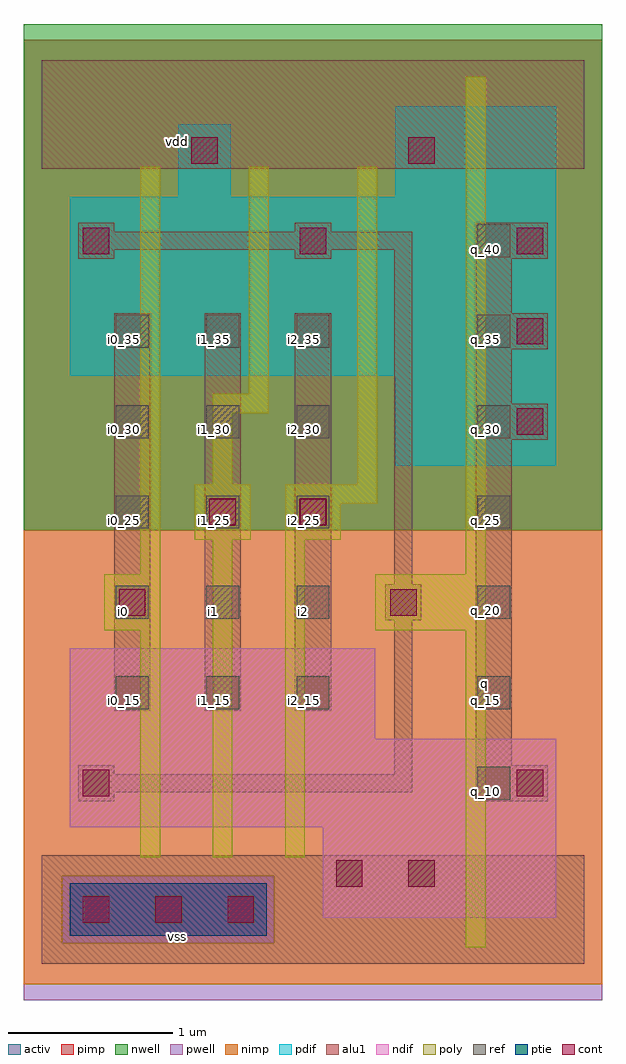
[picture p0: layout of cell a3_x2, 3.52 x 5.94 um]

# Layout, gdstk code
import gdstk
lib = gdstk.Library(unit=1e-6, precision=2.5e-09)
def R(c, l, rs):  # rectangles x0, y0, x1, y1
    for r in rs: c.add(gdstk.rectangle(r[:2], r[2:], *l))
def A(c, l, x, y, w, h, nx, ny, dx, dy):  # array of equal rectangles
    R(c, l, [(x+i*dx, y+j*dy, x+i*dx+w, y+j*dy+h) for i in range(nx) for j in range(ny)])
ndif = (3, 0)
pdif = (4, 0)
ptie = (6, 0)
ref = (24, 0)
cont = (25, 0)
pwell = (41, 0)
nwell = (42, 0)
activ = (43, 0)
pimp = (44, 0)
nimp = (45, 0)
poly = (46, 0)
alu1 = (49, 0)

a3_x2 = lib.new_cell('a3_x2')
R(a3_x2, ndif, [(1.71,0.28,3.13,0.83), (1.71,0.28,3.13,0.83), (0.17,0.83,3.13,1.37), (0.17,0.83,3.13,1.37), (0.17,1.37,2.03,1.92), (0.17,1.37,2.03,1.92)])
R(a3_x2, pdif, [(2.15,3.03,3.13,3.58), (2.15,3.03,3.13,3.58), (0.17,3.58,3.13,4.67), (0.17,3.58,3.13,4.67), (0.83,4.67,1.15,5.11), (0.83,4.67,1.15,5.11), (2.15,4.67,3.13,5.22), (2.15,4.67,3.13,5.22)])
R(a3_x2, ptie, [(0.17,0.17,1.37,0.49), (0.17,0.17,1.37,0.49)])
A(a3_x2, ref, 2.65, 1, 0.2, 0.2, 1, 7, 0, 0.55)
A(a3_x2, ref, 0.45, 1.55, 0.2, 0.2, 3, 5, 0.55, 0.55)
A(a3_x2, cont, 0.25, 0.25, 0.16, 0.16, 3, 1, 0.44, 0)
A(a3_x2, cont, 0.25, 4.32, 0.16, 0.16, 3, 1, 1.32, 0)
R(a3_x2, cont, [(1.79,0.47,1.95,0.63), (2.23,0.47,2.39,0.63), (0.25,1.02,0.41,1.18), (2.89,1.02,3.05,1.18), (0.47,2.12,0.63,2.28), (2.12,2.12,2.28,2.28), (1.02,2.67,1.18,2.83), (1.57,2.67,1.73,2.83), (2.89,3.22,3.05,3.38), (2.89,3.77,3.05,3.93), (0.91,4.87,1.07,5.03), (2.23,4.87,2.39,5.03)])
R(a3_x2, pwell, [(-0.11,-0.22,3.41,2.64)])
R(a3_x2, nwell, [(-0.11,2.64,3.41,5.72)])
R(a3_x2, activ, [(0.17,0.17,1.37,0.49), (0.17,0.17,1.37,0.49), (1.71,0.28,3.13,0.83), (1.71,0.28,3.13,0.83), (0.17,0.83,3.13,1.37), (0.17,0.83,3.13,1.37), (0.17,1.37,2.03,1.92), (0.17,1.37,2.03,1.92), (2.15,3.03,3.13,3.58), (2.15,3.03,3.13,3.58), (0.17,3.58,3.13,4.67), (0.17,3.58,3.13,4.67), (0.83,4.67,1.15,5.11), (0.83,4.67,1.15,5.11), (2.15,4.67,3.13,5.22), (2.15,4.67,3.13,5.22)])
R(a3_x2, pimp, [(0.125,0.125,1.415,0.535), (-0.11,2.64,3.41,5.625)])
R(a3_x2, nimp, [(-0.11,-0.125,3.41,0.125), (-0.11,0.125,0.125,0.535), (1.415,0.125,3.41,0.535), (-0.11,0.535,3.41,2.64)])
R(a3_x2, poly, [(2.58,0.1,2.7,2.03), (0.6,0.65,0.72,2.03), (1.04,0.65,1.16,2.58), (1.48,0.65,1.6,2.58), (0.38,2.03,0.72,2.37), (2.03,2.03,2.7,2.37), (0.6,2.37,0.72,4.85), (2.58,2.37,2.7,5.4), (0.93,2.58,1.27,2.92), (1.48,2.58,1.82,2.8), (1.48,2.8,2.04,2.92), (1.04,2.92,1.16,3.35), (1.92,2.92,2.04,4.85), (1.04,3.35,1.38,3.47), (1.26,3.47,1.38,4.85)])
A(a3_x2, alu1, 0.44, 1.54, 0.22, 2.42, 3, 1, 0.55, 0)
A(a3_x2, alu1, 2.64, 3.19, 0.44, 0.22, 1, 3, 0, 0.55)
R(a3_x2, alu1, [(0,0,3.3,0.66), (0.22,0.99,0.44,1.045), (2.64,0.99,3.08,1.21), (0.22,1.045,2.255,1.155), (0.22,1.155,0.44,1.21), (2.145,1.155,2.255,2.09), (2.64,1.21,2.86,3.19), (2.09,2.09,2.31,2.31), (2.145,2.31,2.255,4.345), (2.64,3.41,2.86,3.74), (2.64,3.96,2.86,4.29), (0.22,4.29,0.44,4.345), (1.54,4.29,1.76,4.345), (0.22,4.345,2.255,4.455), (0.22,4.455,0.44,4.51), (1.54,4.455,1.76,4.51), (0,4.84,3.3,5.5)])
a3_x2.add(gdstk.Label('vss', (0.825,0.165), layer=49, texttype=0))
a3_x2.add(gdstk.Label('q', (2.695,1.705), layer=49, texttype=0))
a3_x2.add(gdstk.Label('i2', (1.595,2.145), layer=49, texttype=0))
a3_x2.add(gdstk.Label('i1', (1.045,2.145), layer=49, texttype=0))
a3_x2.add(gdstk.Label('i0', (0.495,2.145), layer=49, texttype=0))
a3_x2.add(gdstk.Label('vdd', (0.825,5.005), layer=49, texttype=0))
a3_x2.add(gdstk.Label('q_10', (2.7,1.05), layer=24, texttype=0))
a3_x2.add(gdstk.Label('q_15', (2.7,1.6), layer=24, texttype=0))
a3_x2.add(gdstk.Label('q_40', (2.7,4.35), layer=24, texttype=0))
a3_x2.add(gdstk.Label('q_35', (2.7,3.8), layer=24, texttype=0))
a3_x2.add(gdstk.Label('q_30', (2.7,3.25), layer=24, texttype=0))
a3_x2.add(gdstk.Label('q_25', (2.7,2.7), layer=24, texttype=0))
a3_x2.add(gdstk.Label('q_20', (2.7,2.15), layer=24, texttype=0))
a3_x2.add(gdstk.Label('i2_35', (1.6,3.8), layer=24, texttype=0))
a3_x2.add(gdstk.Label('i2_30', (1.6,3.25), layer=24, texttype=0))
a3_x2.add(gdstk.Label('i1_20', (1.05,2.15), layer=24, texttype=0))
a3_x2.add(gdstk.Label('i1_25', (1.05,2.7), layer=24, texttype=0))
a3_x2.add(gdstk.Label('i1_30', (1.05,3.25), layer=24, texttype=0))
a3_x2.add(gdstk.Label('i1_35', (1.05,3.8), layer=24, texttype=0))
a3_x2.add(gdstk.Label('i0_20', (0.5,2.15), layer=24, texttype=0))
a3_x2.add(gdstk.Label('i0_25', (0.5,2.7), layer=24, texttype=0))
a3_x2.add(gdstk.Label('i0_30', (0.5,3.25), layer=24, texttype=0))
a3_x2.add(gdstk.Label('i0_35', (0.5,3.8), layer=24, texttype=0))
a3_x2.add(gdstk.Label('i1_15', (1.05,1.6), layer=24, texttype=0))
a3_x2.add(gdstk.Label('i0_15', (0.5,1.6), layer=24, texttype=0))
a3_x2.add(gdstk.Label('i2_15', (1.6,1.6), layer=24, texttype=0))
a3_x2.add(gdstk.Label('i2_20', (1.6,2.15), layer=24, texttype=0))
a3_x2.add(gdstk.Label('i2_25', (1.6,2.7), layer=24, texttype=0))

lib.write_gds('a3_x2.gds')
